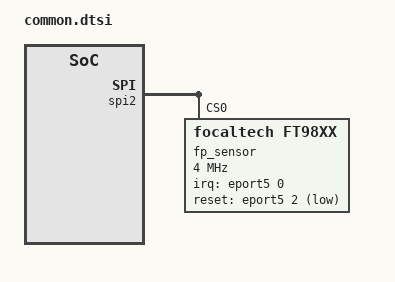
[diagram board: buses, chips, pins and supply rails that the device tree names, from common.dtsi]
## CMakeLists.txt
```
# Copyright 2026 The ChromiumOS Authors
# Use of this source code is governed by a BSD-style license that can be
# found in the LICENSE file.

zephyr_library_sources("src/platform.c")

if(DEFINED CONFIG_CROS_EC_RO)

add_library(config_page OBJECT src/config_page.c)
set_source_files_properties(src/config_page.c PROPERTIES
  COMPILE_OPTIONS $<TARGET_PROPERTY:compiler,prohibit_lto>
)

target_link_libraries(config_page PUBLIC zephyr_interface)
target_link_libraries(config_page PUBLIC cros_ec_interface)

add_custom_target(config_page_binary ALL
  COMMAND ${CMAKE_OBJCOPY} -Obinary --only-section .data.config_page
	$<TARGET_OBJECTS:config_page>
	${CMAKE_BINARY_DIR}/config_page.bin
  COMMENT "Generating binary with configuration page"
  DEPENDS config_page
  VERBATIM
)

endif()

if(DEFINED CONFIG_CROS_EC_RW AND DEFINED CONFIG_FOCALTECH_OTP_KEY)
  zephyr_library_sources("src/otp_init.c")
endif()
```

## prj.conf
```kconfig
# Copyright 2026 The ChromiumOS Authors
# Use of this source code is governed by a BSD-style license that can be
# found in the LICENSE file.

CONFIG_BOARD_FT9001=y

# The NULL pointer exception page size must be a power of two
# and have size greater or equal ARM_MPU_REGION_MIN_ALIGN_AND_SIZE
CONFIG_CORTEX_M_NULL_POINTER_EXCEPTION_PAGE_SIZE=0x80

# Peripherials
CONFIG_GPIO=y
CONFIG_PINCTRL=y
CONFIG_SPI_ASYNC=y
CONFIG_HWINFO=y
CONFIG_HWINFO_FOCALTECH=y

# Stack and rollback protection
CONFIG_ARM_MPU=y
CONFIG_HW_STACK_PROTECTION=y

# Do not use partition for code, because the code location is different for RO
# and RW
CONFIG_USE_DT_CODE_PARTITION=n

# Enable USB for HC
CONFIG_UDC_DRIVER=y
CONFIG_USB_DEVICE_STACK_NEXT=y
# 2kB looks sufficient, but add additional margin for future changes
CONFIG_UDC_BUF_POOL_SIZE=3072
CONFIG_USBD_THREAD_STACK_SIZE=2048

CONFIG_USB_DEVICE_MANUFACTURER="Google"
CONFIG_USB_DEVICE_PRODUCT="FPMCU"
CONFIG_USB_DEVICE_VID=0x18D1
CONFIG_USB_DEVICE_SELF_POWERED=n
CONFIG_USB_DEVICE_REMOTE_WAKEUP=y
CONFIG_USB_DEVICE_SN="0"
CONFIG_USB_DEVICE_SN_HWINFO=y
CONFIG_USB_DEVICE_MAX_POWER=250

# Use USB for signaling MKBP events
CONFIG_PLATFORM_EC_MKBP_USE_GPIO=n
CONFIG_PLATFORM_EC_MKBP_USE_USB=y

# Sizes adjusted for 512 bytes payload for write and read flash host commands
CONFIG_EC_HOST_CMD_HANDLER_RX_BUFFER_SIZE=528
CONFIG_EC_HOST_CMD_HANDLER_TX_BUFFER_SIZE=520

# BBRAM not supported on FT9001, use RAM instead
CONFIG_BBRAM=n
CONFIG_RETAINED_MEM=y
CONFIG_RETAINED_MEM_INIT_PRIORITY=15
CONFIG_RETAINED_MEM_MUTEX_FORCE_DISABLE=y

# Arch init for RO -> RW jump
CONFIG_INIT_ARCH_HW_AT_BOOT=y

# Make possibility to enter bootloader
CONFIG_PLATFORM_EC_HOST_COMMAND_ENTER_BOOTLOADER=y

# No access to hardware WP pin, use external method
CONFIG_PLATFORM_EC_WP_EXTERNAL=y

# Current rollback version value.
CONFIG_PLATFORM_EC_ROLLBACK_VERSION=1

# Make sure to start shell before main
CONFIG_PLATFORM_EC_CONSOLE_START_SHELL_TASK=y

# TODO(b/502827232): Enable watchdog and configure proper configs
```

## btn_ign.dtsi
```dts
/* Copyright 2026 The ChromiumOS Authors
 * Use of this source code is governed by a BSD-style license that can be
 * found in the LICENSE file.
 */

/ {
	aliases {
		gpio-btn-ign-out = &gpio_btn_ign_out;
	};

	gpio-leds {
		compatible = "gpio-leds"; /* Common pattern in Zephyr for GPIO outputs */

		gpio_btn_ign_out: gpio_btn_ign_out {
			gpios = <&eport5 1 GPIO_ACTIVE_HIGH>;
		};
	};
};
```

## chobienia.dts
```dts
/* Copyright 2026 The ChromiumOS Authors.
 * Use of this source code is governed by a BSD-style license that can be
 * found in the LICENSE file.
 */

#include "common.dtsi"

#define FT9849_COMMON_IMAGE_PROPS \
	width = <80>; \
	height = <128>; \
	bits-per-pixel = <12>; \
	image-data-offset-bytes = <0>; \
	v4l2-pixel-format = "V4L2_PIX_FMT_GREY";

#define FT9849_RAW_IMAGE_PROPS \
	FT9849_COMMON_IMAGE_PROPS \
	frame-size = <30720>;

#define FT9849_REAL_IMAGE_PROPS \
	FT9849_COMMON_IMAGE_PROPS \
	/* Sensor real image size: (80*128*2) */ \
	frame-size = <20480>;

&fp_sensor {
	configs {
		compatible = "fingerprint-image-frame-params";
		config0 {
			FT9849_RAW_IMAGE_PROPS
			capture-type = "FINGERPRINT_CAPTURE_TYPE_VENDOR_FORMAT";
		};
		config1 {
			FT9849_REAL_IMAGE_PROPS
			capture-type = "FINGERPRINT_CAPTURE_TYPE_SIMPLE_IMAGE";
		};
		config2 {
			FT9849_REAL_IMAGE_PROPS
			capture-type = "FINGERPRINT_CAPTURE_TYPE_PATTERN0";
		};
		config3 {
			FT9849_REAL_IMAGE_PROPS
			capture-type = "FINGERPRINT_CAPTURE_TYPE_PATTERN1";
		};
		config4 {
			FT9849_RAW_IMAGE_PROPS
			capture-type = "FINGERPRINT_CAPTURE_TYPE_QUALITY_TEST";
		};
		config5 {
			FT9849_REAL_IMAGE_PROPS
			capture-type = "FINGERPRINT_CAPTURE_TYPE_RESET_TEST";
		};
	};
};
```

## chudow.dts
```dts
/* Copyright 2026 The ChromiumOS Authors.
 * Use of this source code is governed by a BSD-style license that can be
 * found in the LICENSE file.
 */

#include "common.dtsi"

#define FT9869_COMMON_IMAGE_PROPS \
	width = <40>; \
	height = <196>; \
	bits-per-pixel = <12>; \
	frame-size = <28320>; \
	image-data-offset-bytes = <0>; \
	v4l2-pixel-format = "V4L2_PIX_FMT_GREY";

&fp_sensor {
	configs {
		compatible = "fingerprint-image-frame-params";
		config0 {
			FT9869_COMMON_IMAGE_PROPS
			capture-type = "FINGERPRINT_CAPTURE_TYPE_VENDOR_FORMAT";
		};
		config1 {
			FT9869_COMMON_IMAGE_PROPS
			capture-type = "FINGERPRINT_CAPTURE_TYPE_SIMPLE_IMAGE";
		};
		config2 {
			FT9869_COMMON_IMAGE_PROPS
			capture-type = "FINGERPRINT_CAPTURE_TYPE_PATTERN0";
		};
		config3 {
			FT9869_COMMON_IMAGE_PROPS
			capture-type = "FINGERPRINT_CAPTURE_TYPE_PATTERN1";
		};
		config4 {
			FT9869_COMMON_IMAGE_PROPS
			capture-type = "FINGERPRINT_CAPTURE_TYPE_QUALITY_TEST";
		};
		config5 {
			FT9869_COMMON_IMAGE_PROPS
			capture-type = "FINGERPRINT_CAPTURE_TYPE_RESET_TEST";
		};
	};
};

&eport5 {
	/* Keep BTN_IGN pin driven low since button ignore functionality  is disabled. */
	gpio_btn_ign_out {
		gpio-hog;
		gpios = <1 GPIO_ACTIVE_HIGH>;
		output-low;
	};
};
```

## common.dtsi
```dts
/* Copyright 2026 The ChromiumOS Authors.
 * Use of this source code is governed by a BSD-style license that can be
 * found in the LICENSE file.
 */

#include <ft/ft90/common_priv.dtsi>

#include "soc.dtsi"
#include "gpio.dtsi"
#include "rwsig.dtsi"
#include "btn_ign.dtsi"
#include "ascp.dtsi"

#include <cros/integrated_fwid.dtsi>
#include <cros/integrated_ro_frid.dtsi>

/ {
	chosen {
		cros-fp,fingerprint-sensor = &fp_sensor;
		cros-fp,fingerprint-memory-frame = &psram;
		cros-fp,fingerprint-memory-template = &psram;
		/* Reference the flash header not to omit it. */
		flash-header = &flash_header;
		cros-ec,watchdog = &wdt0;
	};

	named-bbram-regions {
		compatible = "named-bbram-regions";

		scratchpad {
			offset = <0x00>;
			size = <0x02>;
		};
		saved-reset-flags {
			offset = <0x02>;
			size = <0x04>;
		};
	};

	binman {
		/* The first 4kB of the flash is reserved for the config page */
		wp-ro {
			offset = <0x0>;
			size = <0x80000>;
			flash-header {
				offset = <0x0>;
				size = <0x1000>;
				type = "blob";
				filename = "../build-ro/config_page.bin";
				pad-byte = <0xff>;
			};
			ec-ro {
				offset = <0x1000>;
				size = <0x7f000>;
				ro-fw {
					/*
					 * Clang doesn't emit STT_SECTION symbols (also
					 * called 'section symbols'), so 'rom_start'
					 * symbol is not available. Fortunately, Zephyr
					 * linker scripts provide '__rom_start_address'
					 * symbol which points to the beginning of
					 * 'rom_start' section.
					 */
					elf-base-sym = "__rom_start_address";
				};
				/* SHA256 of RO firmware */
				ro-checksum {
					compatible = "cros-ec,flash-layout";
					type = "section";
					offset = <(0x7f000 - 32)>;
					size = <32>;
					pad-byte = <0xff>;
				};
				pad-byte = <0xff>;
			};
		};

		rollback0 {
			offset = <0x80000>;
			size = <0x1000>;
			type = "blob";
			filename = "../build-rw/rollback_initial_data.bin";
		};

		rollback1 {
			offset = <0x81000>;
			size = <0x1000>;
			type = "blob";
			filename = "../build-rw/rollback_initial_data.bin";
		};

		ec-rw {
			offset = <0x82000>;
			size = <0x7e000>;
			rw-fw {
				/*
				 * Clang doesn't emit STT_SECTION symbols (also
				 * called 'section symbols'), so 'rom_start'
				 * symbol is not available. Fortunately, Zephyr
				 * linker scripts provide '__rom_start_address'
				 * symbol which points to the beginning of
				 * 'rom_start' section.
				 */
				zephyr-rw {
					elf-base-sym = "__rom_start_address";
				};
			};
		};
		pad-byte = <0xff>;
	};
};

&flash0 {
	partitions {
		compatible = "fixed-partitions";
		#address-cells = <1>;
		#size-cells = <1>;

		bootloader: partition@0 {
			label = "bootloader";
			reg = <0x0 DT_SIZE_K(512)>;
		};

		rollback0: partition@100000 {
			label = "rollback0";
			reg = <0x100000 DT_SIZE_K(4)>;
		};

		rollback1: partition@101000 {
			label = "rollback1";
			reg = <0x101000 DT_SIZE_K(4)>;
		};

		sdcp_s_goog: partition@1000 {
			label = "sdcp_s_goog";
			reg = <0x1000 64>;
		};

		sdcp_pk_d: partition@1408 {
			label = "sdcp_pk_d";
			reg = <0x1408 65>;
		};

		sdcp_s_m: partition@1454 {
			label = "sdcp_s_m";
			reg = <0x1454 64>;
		};

		sdcp_pk_m: partition@149c {
			label = "sdcp_pk_m";
			reg = <0x149c 65>;
		};

	};
};

&spi2 {
	fp_sensor: ft98xx@0 {
		compatible = "focaltech,ft98xx";
		reg = <0>;
		spi-max-frequency = <4000000>;

		irq-gpios = <&eport5 0 (GPIO_ACTIVE_HIGH | GPIO_PULL_DOWN)>;
		reset-gpios = <&eport5 2 GPIO_ACTIVE_LOW>;
	};
};
```

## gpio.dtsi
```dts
/* Copyright 2026 The ChromiumOS Authors.
 * Use of this source code is governed by a BSD-style license that can be
 * found in the LICENSE file.
 */

#include <dt-bindings/gpio_defines.h>

/ {
	named-gpios {
		compatible = "named-gpios";

		entering-rw {
			enum-name = "GPIO_ENTERING_RW";
		};

		gpio_btn_ign_out: gpio_btn_ign_out {
			gpios = <&eport5 1 GPIO_OUTPUT_INACTIVE>;
			force-output-init;
		};
	};
};
```

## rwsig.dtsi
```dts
/* Copyright 2025 The ChromiumOS Authors.
 * Use of this source code is governed by a BSD-style license that can be
 * found in the LICENSE file.
 */
#include <cros/binman.dtsi>

&binman {
	wp-ro {
		ec-ro {
			key-ro {
				compatible = "cros-ec,flash-layout";
				type = "section";
				/* At the end of RO, before ro-checksum */
				offset = <(0x7f000 - 0x400 - 32)>;
				size = <0x400>;
			};
		};
	};

	ec-rw {
		rw-fw {
			rw-rbver {
				size = <4>;
				type = "null";
				/* points to
				 * current_image_data.rollback_version
				 */
				offset-from-elf = <&zephyr_rw>,
					"current_image_data", <40>;
				overlap;
			};
			sig-rw {
				type = "section";
				offset = <(0x7e000 - 0x400)>;
				size = <0x400>;
			};
			pad-byte = <0xff>;
		};
	};
};
```

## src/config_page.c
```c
/* Copyright 2026 The ChromiumOS Authors
 * Use of this source code is governed by a BSD-style license that can be
 * found in the LICENSE file.
 */

#include <stddef.h>
#include <stdint.h>

#include <zephyr/toolchain.h>

struct ft_config_page {
	uint32_t code_valid_control_word; /* 0x3AEC3721 for valid code */
	uint8_t reserved_04_18[0x14];
	uint32_t config_page_verification_enable; /* 0x904E3C21 for valid code
						   */
	uint8_t reserved_1B_20[0x4];
	uint32_t code_start_address;
	uint32_t code_length;
	uint8_t reserved_28_40[0x18];
	uint8_t code_sig[256]; /* RSA2048 code signature */
	uint8_t config_page_hash[32]; /* SHA256 of the config page */
	uint8_t reserved_160_1F4[0x94]; /* RSA2048 code signature */
	uint32_t config_page_location; /* 0x301821EF for OTP */
	uint8_t reserved_1F8_200[0x8];
} __packed;

/* TODO - move to chip code. */
struct ft_config_page config_page = {
	.code_valid_control_word = 0x3AEC3721,
	.reserved_04_18 = { 0xff, 0xff, 0xff, 0xff, 0xff, 0xff, 0xff,
			    0xff, 0xff, 0xff, 0xff, 0xff, 0xff, 0xff,
			    0xff, 0xff, 0xff, 0xff, 0xff, 0xff },
	.config_page_verification_enable = 0xffffffff,
	.reserved_1B_20 = { 0xff, 0xff, 0xff, 0xff },
	.code_start_address =
		CONFIG_FLASH_BASE_ADDRESS + CONFIG_CROS_EC_RO_MEM_OFF,
	.code_length = CONFIG_CROS_EC_RO_SIZE - 32, /* Size of RO, but without
						       SHA256 checksum */
	.reserved_28_40 = { 0xff, 0xff, 0xff, 0xff, 0xff, 0xff, 0xff, 0xff,
			    0xff, 0xff, 0xff, 0xff, 0xff, 0xff, 0xff, 0xff,
			    0xff, 0xff, 0xff, 0xff, 0xff, 0xff, 0xff, 0xff },
	.code_sig = { 0xff, 0xff, 0xff, 0xff, 0xff, 0xff, 0xff, 0xff, 0xff,
		      0xff, 0xff, 0xff, 0xff, 0xff, 0xff, 0xff, 0xff, 0xff,
		      0xff, 0xff, 0xff, 0xff, 0xff, 0xff, 0xff, 0xff, 0xff,
		      0xff, 0xff, 0xff, 0xff, 0xff, 0xff, 0xff, 0xff, 0xff,
		      0xff, 0xff, 0xff, 0xff, 0xff, 0xff, 0xff, 0xff, 0xff,
		      0xff, 0xff, 0xff, 0xff, 0xff, 0xff, 0xff, 0xff, 0xff,
		      0xff, 0xff, 0xff, 0xff, 0xff, 0xff, 0xff, 0xff, 0xff,
		      0xff, 0xff, 0xff, 0xff, 0xff, 0xff, 0xff, 0xff, 0xff,
		      0xff, 0xff, 0xff, 0xff, 0xff, 0xff, 0xff, 0xff, 0xff,
		      0xff, 0xff, 0xff, 0xff, 0xff, 0xff, 0xff, 0xff, 0xff,
		      0xff, 0xff, 0xff, 0xff, 0xff, 0xff, 0xff, 0xff, 0xff,
		      0xff, 0xff, 0xff, 0xff, 0xff, 0xff, 0xff, 0xff, 0xff,
		      0xff, 0xff, 0xff, 0xff, 0xff, 0xff, 0xff, 0xff, 0xff,
		      0xff, 0xff, 0xff, 0xff, 0xff, 0xff, 0xff, 0xff, 0xff,
		      0xff, 0xff, 0xff, 0xff, 0xff, 0xff, 0xff, 0xff, 0xff,
		      0xff, 0xff, 0xff, 0xff, 0xff, 0xff, 0xff, 0xff, 0xff,
		      0xff, 0xff, 0xff, 0xff, 0xff, 0xff, 0xff, 0xff, 0xff,
		      0xff, 0xff, 0xff, 0xff, 0xff, 0xff, 0xff, 0xff, 0xff,
		      0xff, 0xff, 0xff, 0xff, 0xff, 0xff, 0xff, 0xff, 0xff,
		      0xff, 0xff, 0xff, 0xff, 0xff, 0xff, 0xff, 0xff, 0xff,
		      0xff, 0xff, 0xff, 0xff, 0xff, 0xff, 0xff, 0xff, 0xff,
		      0xff, 0xff, 0xff, 0xff, 0xff, 0xff, 0xff, 0xff, 0xff,
		      0xff, 0xff, 0xff, 0xff, 0xff, 0xff, 0xff, 0xff, 0xff,
		      0xff, 0xff, 0xff, 0xff, 0xff, 0xff, 0xff, 0xff, 0xff,
		      0xff, 0xff, 0xff, 0xff, 0xff, 0xff, 0xff, 0xff, 0xff,
		      0xff, 0xff, 0xff, 0xff, 0xff, 0xff, 0xff, 0xff, 0xff,
		      0xff, 0xff, 0xff, 0xff, 0xff, 0xff, 0xff, 0xff, 0xff,
		      0xff, 0xff, 0xff, 0xff, 0xff, 0xff, 0xff, 0xff, 0xff,
		      0xff, 0xff, 0xff, 0xff },
	.config_page_hash = { 0xff, 0xff, 0xff, 0xff, 0xff, 0xff, 0xff, 0xff,
			      0xff, 0xff, 0xff, 0xff, 0xff, 0xff, 0xff, 0xff,
			      0xff, 0xff, 0xff, 0xff, 0xff, 0xff, 0xff, 0xff,
			      0xff, 0xff, 0xff, 0xff, 0xff, 0xff, 0xff, 0xff },
	/* Values get from dumped flash. No jump to RO without it. */
	.reserved_160_1F4 = { 0x66, 0x99, 0x38, 0xc0, 0xeb, 0x0c, 0xff, 0xff,
			      0xff, 0xff, 0xff, 0xff, 0xff, 0xff, 0xff, 0xff,
			      0x02, 0x02, 0x21, 0x04, 0xff, 0xff, 0xff, 0xff,
			      0xff, 0xff, 0xff, 0xff, 0xff, 0xff, 0xff, 0xff,
			      0xff, 0xff, 0xff, 0xff, 0xff, 0xff, 0xff, 0xff,
			      0xff, 0xff, 0xff, 0xff, 0xff, 0xff, 0xff, 0xff,
			      0xff, 0xff, 0xff, 0xff, 0xff, 0xff, 0xff, 0xff,
			      0xff, 0xff, 0xff, 0xff, 0xff, 0xff, 0xff, 0xff,
			      0xff, 0xff, 0xff, 0xff, 0xff, 0xff, 0xff, 0xff,
			      0xff, 0xff, 0xff, 0xff, 0xff, 0xff, 0xff, 0xff,
			      0xff, 0xff, 0xff, 0xff, 0xff, 0xff, 0xff, 0xff,
			      0xff, 0xff, 0xff, 0xff, 0xff, 0xff, 0xff, 0xff,
			      0xff, 0xff, 0xff, 0xff, 0xff, 0xff, 0xff, 0xff,
			      0xff, 0xff, 0xff, 0xff, 0xff, 0xff, 0xff, 0xff,
			      0xff, 0xff, 0xff, 0xff, 0xff, 0xff, 0xff, 0xff,
			      0xff, 0xff, 0xff, 0xff, 0xff, 0xff, 0xff, 0xff,
			      0xff, 0xff, 0xff, 0xff, 0xff, 0xff, 0xff, 0xff,
			      0xff, 0xff, 0xff, 0xff, 0xff, 0xff, 0xff, 0xff,
			      0xff, 0xff, 0xff, 0xff },
	.config_page_location = 0xffffffff,
	.reserved_1F8_200 = { 0xff, 0xff, 0xff, 0xff, 0xff, 0xff, 0xff, 0xff },
};
```

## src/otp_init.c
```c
/* Copyright 2026 The ChromiumOS Authors
 * Use of this source code is governed by a BSD-style license that can be
 * found in the LICENSE file.
 */

#include <zephyr/init.h>

#include <otp_key.h>

/* Initialize OTP key if not already initialized */
static int initialize_otp(void)
{
	otp_key_provision();

	return 0;
}
SYS_INIT(initialize_otp, POST_KERNEL, CONFIG_APPLICATION_INIT_PRIORITY);
```

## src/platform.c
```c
/* Copyright 2026 The ChromiumOS Authors
 * Use of this source code is governed by a BSD-style license that can be
 * found in the LICENSE file.
 */

#include "system.h"

/* TODO(b/434894113): Change based on the final solution of WP state. */
int write_protect_is_asserted_external(void)
{
	return 0;
}
```
